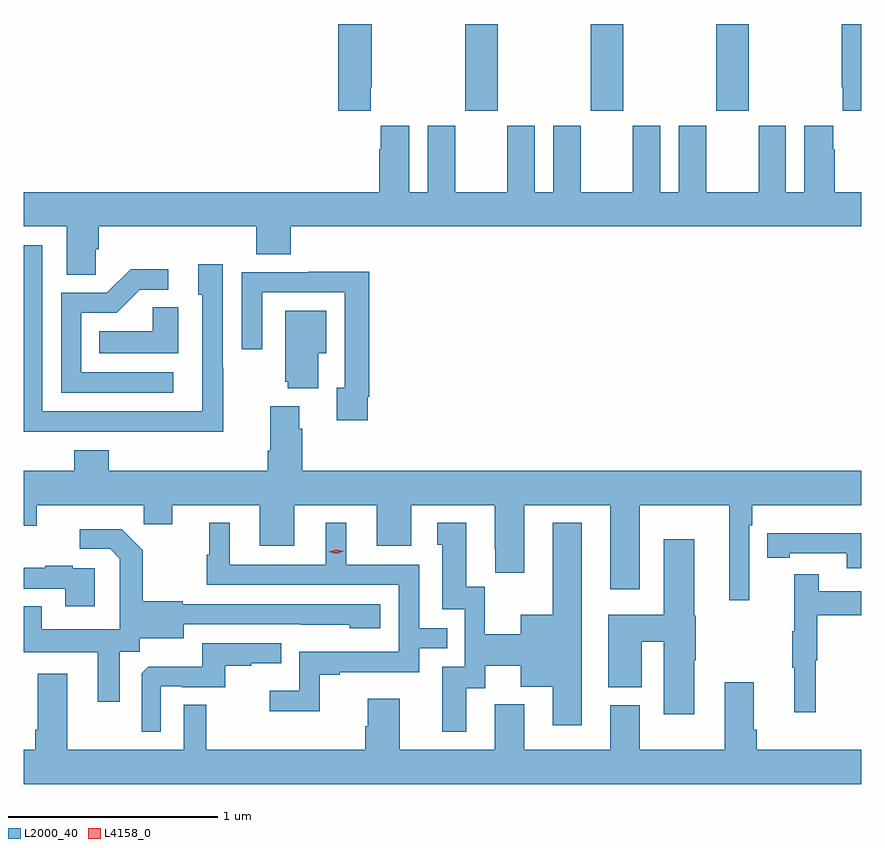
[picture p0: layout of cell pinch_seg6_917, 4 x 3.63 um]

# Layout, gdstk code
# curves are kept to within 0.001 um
import gdstk
lib = gdstk.Library(unit=1e-6, precision=1e-09)
def R(c, l, rs):  # rectangles x0, y0, x1, y1
    for r in rs: c.add(gdstk.rectangle(r[:2], r[2:], *l))
def A(c, l, x, y, w, h, nx, ny, dx, dy):  # array of equal rectangles
    R(c, l, [(x+i*dx, y+j*dy, x+i*dx+w, y+j*dy+h) for i in range(nx) for j in range(ny)])
def P(c, l, *ps):  # polygons
    for p in ps: c.add(gdstk.Polygon(p, *l))
L2000_40 = (2000, 40)
L4158_0 = (4158, 0)

pinch_seg6_917 = lib.new_cell('pinch_seg6_917')
A(pinch_seg6_917, L2000_40, 281.407, 947.889, 0.155, 0.414, 3, 1, 0.6, 0)
P(pinch_seg6_917, L2000_40, [(283.299,948.303),(283.207,948.303),(283.207,948.001),(283.211,948.001),(283.211,947.889),(283.299,947.889)],
  [(280.957,948.001),(280.962,948.001),(280.962,948.303),(280.802,948.303),(280.802,947.889),(280.957,947.889)],
  [(279.642,947.227),(279.656,947.227),(279.656,947.336),(280.409,947.336),(280.409,947.203),(280.574,947.203),(280.574,947.336),(283.299,947.336),(283.299,947.5),(283.172,947.5),(283.172,947.705),(283.165,947.705),(283.165,947.818),(283.028,947.818),(283.028,947.5),(282.94,947.5),(282.94,947.818),(282.809,947.818),(282.809,947.5),(282.559,947.5),(282.559,947.818),(282.428,947.818),(282.428,947.5),(282.34,947.5),(282.34,947.818),(282.209,947.818),(282.209,947.5),(281.959,947.5),(281.959,947.818),(281.828,947.818),(281.828,947.5),(281.74,947.5),(281.74,947.818),(281.609,947.818),(281.609,947.5),(281.359,947.5),(281.359,947.818),(281.228,947.818),(281.228,947.5),(281.14,947.5),(281.14,947.818),(281.003,947.818),(281.003,947.705),(280.997,947.705),(280.997,947.5),(279.299,947.5),(279.299,947.336),(279.503,947.336),(279.503,947.104),(279.642,947.104)],
  [(280.251,946.661),(280.248,946.661),(280.248,947.155),(280.133,947.155),(280.133,947.01),(280.152,947.01),(280.152,946.452),(279.387,946.452),(279.387,947.247),(279.299,947.247),(279.299,946.356),(279.787,946.356),(279.787,946.355),(280.251,946.355)],
  [(280.012,946.638),(279.573,946.638),(279.573,946.923),(279.742,946.923),(279.853,947.034),(279.988,947.034),(279.988,947.132),(279.809,947.132),(279.696,947.019),(279.477,947.019),(279.477,946.542),(280.012,946.542)],
  [(280.942,946.522),(280.949,946.522),(280.949,947.12),(280.657,947.12),(280.657,947.118),(280.341,947.118),(280.341,946.749),(280.437,946.749),(280.437,947.022),(280.833,947.022),(280.833,946.566),(280.793,946.566),(280.793,946.41),(280.942,946.41)],
  [(280.036,946.949),(279.915,946.949),(279.915,946.834),(279.658,946.834),(279.658,946.73),(280.036,946.73)],
  [(280.705,946.73),(280.744,946.73),(280.744,946.933),(280.547,946.933),(280.547,946.593),(280.559,946.593),(280.559,946.562),(280.705,946.562)],
  [(282.765,945.908),(282.779,945.908),(282.779,946.004),(283.299,946.004),(283.299,946.168),(280.628,946.168),(280.628,946.37),(280.615,946.37),(280.615,946.477),(280.475,946.477),(280.475,946.264),(280.463,946.264),(280.463,946.168),(279.704,946.168),(279.704,946.267),(279.539,946.267),(279.539,946.168),(279.299,946.168),(279.299,945.905),(279.361,945.905),(279.361,946.004),(279.871,946.004),(279.871,945.914),(280.009,945.914),(280.009,946.004),(280.427,946.004),(280.427,945.81),(280.591,945.81),(280.591,946.004),(280.985,946.004),(280.985,945.81),(281.149,945.81),(281.149,946.004),(281.549,946.004),(281.549,945.793),(281.55,945.793),(281.55,945.681),(281.689,945.681),(281.689,946.004),(282.101,946.004),(282.101,945.603),(282.241,945.603),(282.241,946.004),(282.668,946.004),(282.668,945.549),(282.765,945.549)],
  [(281.413,945.13),(281.503,945.13),(281.503,945.236),(281.672,945.236),(281.672,945.137),(281.825,945.137),(281.825,944.952),(281.965,944.952),(281.965,945.919),(281.825,945.919),(281.825,945.481),(281.672,945.481),(281.672,945.388),(281.502,945.388),(281.502,945.615),(281.413,945.615),(281.413,945.919),(281.273,945.919),(281.273,945.816),(281.297,945.816),(281.297,945.507),(281.406,945.507),(281.406,945.231),(281.297,945.231),(281.297,944.922),(281.413,944.922)],
  [(280.713,945.195),(280.807,945.195),(280.807,945.207),(281.187,945.207),(281.187,945.321),(281.321,945.321),(281.321,945.417),(281.187,945.417),(281.187,945.72),(280.84,945.72),(280.84,945.919),(280.742,945.919),(280.742,945.72),(280.282,945.72),(280.282,945.919),(280.184,945.919),(280.184,945.768),(280.173,945.768),(280.173,945.624),(281.091,945.624),(281.091,945.303),(280.614,945.303),(280.614,945.118),(280.473,945.118),(280.473,945.02),(280.713,945.02)],
  [(279.757,945.304),(279.852,945.304),(279.852,945.368),(280.063,945.368),(280.063,945.435),(280.857,945.434),(280.857,945.416),(281.002,945.416),(281.002,945.531),(280.059,945.531),(280.059,945.544),(279.867,945.544),(279.867,945.789),(279.767,945.889),(279.567,945.889),(279.567,945.795),(279.711,945.795),(279.758,945.748),(279.758,945.653),(279.756,945.653),(279.756,945.412),(279.385,945.412),(279.385,945.521),(279.299,945.521),(279.299,945.302),(279.653,945.302),(279.653,945.066),(279.757,945.066)],
  [(283.299,945.871),(282.958,945.871),(282.958,945.87),(282.85,945.87),(282.85,945.754),(282.958,945.754),(282.958,945.774),(283.23,945.774),(283.23,945.702),(283.299,945.702)],
  [(282.502,945.263),(282.51,945.263),(282.51,945.477),(282.502,945.477),(282.502,945.841),(282.356,945.841),(282.356,945.481),(282.092,945.481),(282.092,945.134),(282.25,945.134),(282.25,945.352),(282.356,945.352),(282.356,945.006),(282.502,945.006)],
  [(279.637,945.702),(279.533,945.702),(279.533,945.715),(279.401,945.715),(279.401,945.704),(279.299,945.704),(279.299,945.606),(279.497,945.606),(279.497,945.522),(279.637,945.522)],
  [(283.082,945.264),(283.09,945.264),(283.09,945.478),(283.299,945.478),(283.299,945.594),(283.097,945.594),(283.097,945.673),(282.98,945.673),(282.98,945.401),(282.969,945.401),(282.969,945.227),(282.98,945.227),(282.98,945.015),(283.082,945.015)],
  [(279.954,945.138),(280.054,945.138),(280.054,945.135),(280.262,945.135),(280.262,945.237),(280.385,945.237),(280.385,945.248),(280.529,945.248),(280.529,945.345),(280.152,945.345),(280.152,945.233),(279.893,945.233),(279.861,945.201),(279.861,944.921),(279.954,944.921)],
  [(283.299,944.836),(282.8,944.836),(282.8,944.932),(282.787,944.932),(282.787,945.157),(282.647,945.157),(282.647,944.836),(282.241,944.836),(282.241,945.049),(282.101,945.049),(282.101,944.836),(281.689,944.836),(281.689,945.052),(281.549,945.052),(281.549,944.836),(281.095,944.836),(281.095,945.079),(280.943,945.079),(280.943,944.949),(280.931,944.949),(280.931,944.836),(280.171,944.836),(280.171,945.05),(280.062,945.05),(280.062,944.836),(279.505,944.836),(279.505,945.199),(279.365,945.199),(279.365,944.932),(279.353,944.932),(279.353,944.836),(279.299,944.836),(279.299,944.672),(283.299,944.672)])
P(pinch_seg6_917, L4158_0, [(280.791,945.772),(280.755,945.781),(280.755,945.781),(280.755,945.782),(280.791,945.792),(280.827,945.784),(280.827,945.784),(280.827,945.783)])

lib.write_gds('pinch_seg6_917.gds')
